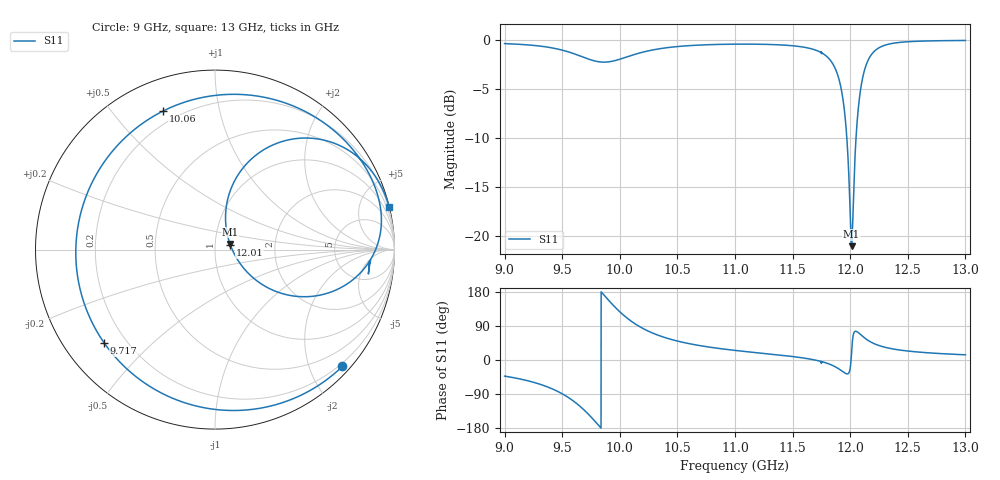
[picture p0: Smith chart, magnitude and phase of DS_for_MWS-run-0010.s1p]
! TOUCHSTONE file generated by CST DESIGN STUDIO
! Date and time: Tue Feb  4 18:09:32 2025
! Project name: C:\Work\MatlabApps\UnitCellOptimizationMatlab\CST\unitcell.cst
! Tree item: Tasks\Sweep1\SPara1\S-Parameters
! Header version: 2024
! Port assignment regex: !\s*Touchstone port\s*([0-9]+)\s*=\s*(CST MWS port|CST DES external port|CST DES block port)\s*(.+)\s* \(\"(.*)\"\)(\s*mode\s*([0-9]+))?.*
! Touchstone port assignment:
! Touchstone port 1 = CST DES external port 1 ("")
# GHz S MA R 50
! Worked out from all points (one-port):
!   4001 points, 9 GHz to 13 GHz, reference 50 ohm
!   lowest |S11| = -21.0 dB at 12.01 GHz (marker M1), VSWR 1.20, Z = 59 + j3.66 ohm
!   |S11| at or under -10 dB: 11.97 GHz to 12.05 GHz (79.32 MHz wide, 0.66 % of centre)
!   S11 on the Smith chart (normalised r, x): 9 GHz: 0.14, -2.56; 9.717 GHz: 0.12, -0.36; 10.06 GHz: 0.14, +0.68; 12.01 GHz: 1.19, +0.06; 13 GHz: 0.03, +8.32
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9  0.963 -42.5
9.279  0.9394 -61.3
9.5  0.892 -89.1
9.615  0.8498 -112.3
9.717  0.8072 -139.9
9.788  0.784 -162.8
9.853  0.7747 174.7
10  0.8016 127.2
10.063  0.8242 110.7
10.156  0.8573 91.0
10.273  0.8909 72.6
10.5  0.9302 50.0
11  0.9568 25.3
11.5  0.939 9.2
11.752  0.8643 -4.2
11.885  0.6836 -20.4
11.954  0.4162 -34.3
11.975  0.2909 -36.7
12  0.1297 -21.7
12.011  0.08946 15.5
12.012  0.0892 20.2
12.024  0.1326 61.7
12.049  0.3069 75.8
12.07  0.4477 72.4
12.133  0.7334 56.4
12.269  0.9293 36.3
12.5  0.9844 23.6
13  0.9993 13.7
